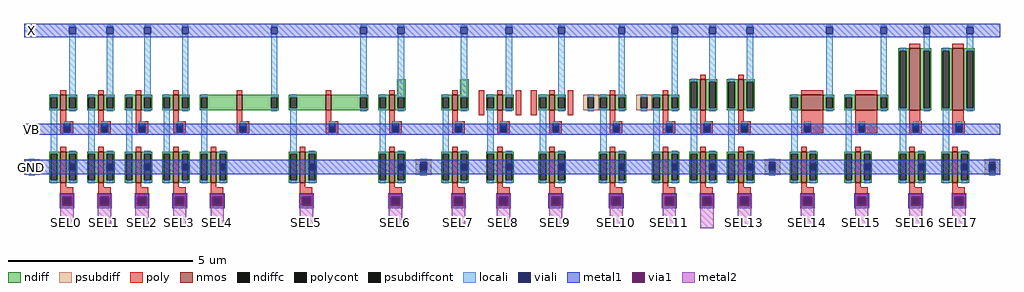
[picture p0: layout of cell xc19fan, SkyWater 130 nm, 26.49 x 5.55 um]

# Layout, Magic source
magic
tech sky130A
magscale 1 2
<< nmos >>
rect 198 0 228 84
rect 402 0 432 84
rect 606 0 636 84
rect 810 0 840 84
rect 1154 0 1184 84
rect 1638 0 1668 84
rect 1982 0 2012 84
rect 2324 0 2354 84
rect 2568 0 2598 84
rect 2852 0 2882 84
rect 3180 0 3210 84
rect 3468 0 3498 84
rect 3672 0 3702 168
rect 3876 0 3906 168
rect 4218 0 4338 84
rect 4512 0 4632 84
rect 4806 0 4866 336
rect 5040 0 5100 336
rect 198 -392 228 -224
rect 402 -392 432 -224
rect 606 -392 636 -224
rect 810 -392 840 -224
rect 1014 -392 1044 -224
rect 1498 -392 1528 -224
rect 1982 -392 2012 -224
rect 2324 -392 2354 -224
rect 2568 -392 2598 -224
rect 2852 -392 2882 -224
rect 3180 -392 3210 -224
rect 3468 -392 3498 -224
rect 3672 -392 3702 -224
rect 3876 -392 3906 -224
rect 4218 -392 4248 -224
rect 4512 -392 4542 -224
rect 4806 -392 4836 -224
rect 5040 -392 5070 -224
<< ndiff >>
rect 4746 324 4806 336
rect 2027 84 2072 168
rect 2369 84 2414 168
rect 3612 156 3672 168
rect 138 72 198 84
rect 138 12 146 72
rect 180 12 198 72
rect 138 0 198 12
rect 228 72 288 84
rect 228 12 246 72
rect 280 12 288 72
rect 228 0 288 12
rect 342 72 402 84
rect 342 12 350 72
rect 384 12 402 72
rect 342 0 402 12
rect 432 72 492 84
rect 432 12 450 72
rect 484 12 492 72
rect 432 0 492 12
rect 546 72 606 84
rect 546 12 554 72
rect 588 12 606 72
rect 546 0 606 12
rect 636 72 696 84
rect 636 12 654 72
rect 688 12 696 72
rect 636 0 696 12
rect 750 72 810 84
rect 750 12 758 72
rect 792 12 810 72
rect 750 0 810 12
rect 840 72 900 84
rect 840 12 858 72
rect 892 12 900 72
rect 840 0 900 12
rect 954 72 1154 84
rect 954 12 962 72
rect 996 12 1154 72
rect 954 0 1154 12
rect 1184 72 1384 84
rect 1184 12 1342 72
rect 1376 12 1384 72
rect 1184 0 1384 12
rect 1438 72 1638 84
rect 1438 12 1446 72
rect 1480 12 1638 72
rect 1438 0 1638 12
rect 1668 72 1868 84
rect 1668 12 1826 72
rect 1860 12 1868 72
rect 1668 0 1868 12
rect 1922 72 1982 84
rect 1922 12 1930 72
rect 1964 12 1982 72
rect 1922 0 1982 12
rect 2012 72 2072 84
rect 2012 12 2030 72
rect 2064 12 2072 72
rect 2012 0 2072 12
rect 2264 72 2324 84
rect 2264 12 2272 72
rect 2306 12 2324 72
rect 2264 0 2324 12
rect 2354 72 2414 84
rect 2354 12 2372 72
rect 2406 12 2414 72
rect 2354 0 2414 12
rect 2508 72 2568 84
rect 2508 12 2516 72
rect 2550 12 2568 72
rect 2508 0 2568 12
rect 2598 72 2658 84
rect 2598 12 2616 72
rect 2650 12 2658 72
rect 2598 0 2658 12
rect 2792 72 2852 84
rect 2792 12 2800 72
rect 2834 12 2852 72
rect 2792 0 2852 12
rect 2882 72 2942 84
rect 2882 12 2900 72
rect 2934 12 2942 72
rect 2882 0 2942 12
rect 3120 72 3180 84
rect 3120 12 3128 72
rect 3162 12 3180 72
rect 3120 0 3180 12
rect 3210 72 3270 84
rect 3210 12 3228 72
rect 3262 12 3270 72
rect 3210 0 3270 12
rect 3408 72 3468 84
rect 3408 12 3416 72
rect 3450 12 3468 72
rect 3408 0 3468 12
rect 3498 72 3558 84
rect 3498 12 3516 72
rect 3550 12 3558 72
rect 3498 0 3558 12
rect 3612 12 3620 156
rect 3654 12 3672 156
rect 3612 0 3672 12
rect 3702 156 3762 168
rect 3702 12 3720 156
rect 3754 12 3762 156
rect 3702 0 3762 12
rect 3816 156 3876 168
rect 3816 12 3824 156
rect 3858 12 3876 156
rect 3816 0 3876 12
rect 3906 156 3966 168
rect 3906 12 3924 156
rect 3958 12 3966 156
rect 3906 0 3966 12
rect 4158 72 4218 84
rect 4158 12 4166 72
rect 4200 12 4218 72
rect 4158 0 4218 12
rect 4338 72 4398 84
rect 4338 12 4356 72
rect 4390 12 4398 72
rect 4338 0 4398 12
rect 4452 72 4512 84
rect 4452 12 4460 72
rect 4494 12 4512 72
rect 4452 0 4512 12
rect 4632 72 4692 84
rect 4632 12 4650 72
rect 4684 12 4692 72
rect 4632 0 4692 12
rect 4746 12 4754 324
rect 4788 12 4806 324
rect 4746 0 4806 12
rect 4866 324 4926 336
rect 4866 12 4884 324
rect 4918 12 4926 324
rect 4866 0 4926 12
rect 4980 324 5040 336
rect 4980 12 4988 324
rect 5022 12 5040 324
rect 4980 0 5040 12
rect 5100 324 5160 336
rect 5100 12 5118 324
rect 5152 12 5160 324
rect 5100 0 5160 12
rect 138 -236 198 -224
rect 138 -380 146 -236
rect 180 -380 198 -236
rect 138 -392 198 -380
rect 228 -236 288 -224
rect 228 -380 246 -236
rect 280 -380 288 -236
rect 228 -392 288 -380
rect 342 -236 402 -224
rect 342 -380 350 -236
rect 384 -380 402 -236
rect 342 -392 402 -380
rect 432 -236 492 -224
rect 432 -380 450 -236
rect 484 -380 492 -236
rect 432 -392 492 -380
rect 546 -236 606 -224
rect 546 -380 554 -236
rect 588 -380 606 -236
rect 546 -392 606 -380
rect 636 -236 696 -224
rect 636 -380 654 -236
rect 688 -380 696 -236
rect 636 -392 696 -380
rect 750 -236 810 -224
rect 750 -380 758 -236
rect 792 -380 810 -236
rect 750 -392 810 -380
rect 840 -236 900 -224
rect 840 -380 858 -236
rect 892 -380 900 -236
rect 840 -392 900 -380
rect 954 -236 1014 -224
rect 954 -380 962 -236
rect 996 -380 1014 -236
rect 954 -392 1014 -380
rect 1044 -236 1104 -224
rect 1044 -380 1062 -236
rect 1096 -380 1104 -236
rect 1044 -392 1104 -380
rect 1438 -236 1498 -224
rect 1438 -380 1446 -236
rect 1480 -380 1498 -236
rect 1438 -392 1498 -380
rect 1528 -236 1588 -224
rect 1528 -380 1546 -236
rect 1580 -380 1588 -236
rect 1528 -392 1588 -380
rect 1922 -236 1982 -224
rect 1922 -380 1930 -236
rect 1964 -380 1982 -236
rect 1922 -392 1982 -380
rect 2012 -236 2072 -224
rect 2012 -380 2030 -236
rect 2064 -380 2072 -236
rect 2264 -236 2324 -224
rect 2012 -392 2072 -380
rect 2264 -380 2272 -236
rect 2306 -380 2324 -236
rect 2264 -392 2324 -380
rect 2354 -236 2414 -224
rect 2354 -380 2372 -236
rect 2406 -380 2414 -236
rect 2354 -392 2414 -380
rect 2508 -236 2568 -224
rect 2508 -380 2516 -236
rect 2550 -380 2568 -236
rect 2508 -392 2568 -380
rect 2598 -236 2658 -224
rect 2598 -380 2616 -236
rect 2650 -380 2658 -236
rect 2598 -392 2658 -380
rect 2792 -236 2852 -224
rect 2792 -380 2800 -236
rect 2834 -380 2852 -236
rect 2792 -392 2852 -380
rect 2882 -236 2942 -224
rect 2882 -380 2900 -236
rect 2934 -380 2942 -236
rect 2882 -392 2942 -380
rect 3120 -236 3180 -224
rect 3120 -380 3128 -236
rect 3162 -380 3180 -236
rect 3120 -392 3180 -380
rect 3210 -236 3270 -224
rect 3210 -380 3228 -236
rect 3262 -380 3270 -236
rect 3210 -392 3270 -380
rect 3408 -236 3468 -224
rect 3408 -380 3416 -236
rect 3450 -380 3468 -236
rect 3408 -392 3468 -380
rect 3498 -236 3558 -224
rect 3498 -380 3516 -236
rect 3550 -380 3558 -236
rect 3498 -392 3558 -380
rect 3612 -236 3672 -224
rect 3612 -380 3620 -236
rect 3654 -380 3672 -236
rect 3612 -392 3672 -380
rect 3702 -236 3762 -224
rect 3702 -380 3720 -236
rect 3754 -380 3762 -236
rect 3702 -392 3762 -380
rect 3816 -236 3876 -224
rect 3816 -380 3824 -236
rect 3858 -380 3876 -236
rect 3816 -392 3876 -380
rect 3906 -236 3966 -224
rect 3906 -380 3924 -236
rect 3958 -380 3966 -236
rect 4158 -236 4218 -224
rect 3906 -392 3966 -380
rect 4158 -380 4166 -236
rect 4200 -380 4218 -236
rect 4158 -392 4218 -380
rect 4248 -236 4308 -224
rect 4248 -380 4266 -236
rect 4300 -380 4308 -236
rect 4248 -392 4308 -380
rect 4452 -236 4512 -224
rect 4452 -380 4460 -236
rect 4494 -380 4512 -236
rect 4452 -392 4512 -380
rect 4542 -236 4602 -224
rect 4542 -380 4560 -236
rect 4594 -380 4602 -236
rect 4542 -392 4602 -380
rect 4746 -236 4806 -224
rect 4746 -380 4754 -236
rect 4788 -380 4806 -236
rect 4746 -392 4806 -380
rect 4836 -236 4896 -224
rect 4836 -380 4854 -236
rect 4888 -380 4896 -236
rect 4836 -392 4896 -380
rect 4980 -236 5040 -224
rect 4980 -380 4988 -236
rect 5022 -380 5040 -236
rect 4980 -392 5040 -380
rect 5070 -236 5130 -224
rect 5070 -380 5088 -236
rect 5122 -380 5130 -236
rect 5070 -392 5130 -380
<< ndiffc >>
rect 146 12 180 72
rect 246 12 280 72
rect 350 12 384 72
rect 450 12 484 72
rect 554 12 588 72
rect 654 12 688 72
rect 758 12 792 72
rect 858 12 892 72
rect 962 12 996 72
rect 1342 12 1376 72
rect 1446 12 1480 72
rect 1826 12 1860 72
rect 1930 12 1964 72
rect 2030 12 2064 72
rect 2272 12 2306 72
rect 2372 12 2406 72
rect 2516 12 2550 72
rect 2616 12 2650 72
rect 2800 12 2834 72
rect 2900 12 2934 72
rect 3128 12 3162 72
rect 3228 12 3262 72
rect 3416 12 3450 72
rect 3516 12 3550 72
rect 3620 12 3654 156
rect 3720 12 3754 156
rect 3824 12 3858 156
rect 3924 12 3958 156
rect 4166 12 4200 72
rect 4356 12 4390 72
rect 4460 12 4494 72
rect 4650 12 4684 72
rect 4754 12 4788 324
rect 4884 12 4918 324
rect 4988 12 5022 324
rect 5118 12 5152 324
rect 146 -380 180 -236
rect 246 -380 280 -236
rect 350 -380 384 -236
rect 450 -380 484 -236
rect 554 -380 588 -236
rect 654 -380 688 -236
rect 758 -380 792 -236
rect 858 -380 892 -236
rect 962 -380 996 -236
rect 1062 -380 1096 -236
rect 1446 -380 1480 -236
rect 1546 -380 1580 -236
rect 1930 -380 1964 -236
rect 2030 -380 2064 -236
rect 2272 -380 2306 -236
rect 2372 -380 2406 -236
rect 2516 -380 2550 -236
rect 2616 -380 2650 -236
rect 2800 -380 2834 -236
rect 2900 -380 2934 -236
rect 3128 -380 3162 -236
rect 3228 -380 3262 -236
rect 3416 -380 3450 -236
rect 3516 -380 3550 -236
rect 3620 -380 3654 -236
rect 3720 -380 3754 -236
rect 3824 -380 3858 -236
rect 3924 -380 3958 -236
rect 4166 -380 4200 -236
rect 4266 -380 4300 -236
rect 4460 -380 4494 -236
rect 4560 -380 4594 -236
rect 4754 -380 4788 -236
rect 4854 -380 4888 -236
rect 4988 -380 5022 -236
rect 5088 -380 5122 -236
<< psubdiff >>
rect 3036 72 3120 84
rect 3036 12 3060 72
rect 3094 12 3120 72
rect 3036 0 3120 12
rect 3324 72 3408 84
rect 3324 12 3348 72
rect 3382 12 3408 72
rect 3324 0 3408 12
rect 0 -278 84 -266
rect 0 -338 25 -278
rect 59 -338 84 -278
rect 0 -350 84 -338
rect 2126 -278 2210 -266
rect 2126 -338 2151 -278
rect 2185 -338 2210 -278
rect 2126 -350 2210 -338
rect 4020 -278 4104 -266
rect 4020 -338 4045 -278
rect 4079 -338 4104 -278
rect 4020 -350 4104 -338
rect 5214 -278 5298 -266
rect 5214 -338 5239 -278
rect 5273 -338 5298 -278
rect 5214 -350 5298 -338
<< psubdiffcont >>
rect 3060 12 3094 72
rect 3348 12 3382 72
rect 25 -338 59 -278
rect 2151 -338 2185 -278
rect 4045 -338 4079 -278
rect 5239 -338 5273 -278
<< poly >>
rect 4806 336 4866 362
rect 5040 336 5100 362
rect 3672 168 3702 194
rect 3876 168 3906 194
rect 198 84 228 110
rect 402 84 432 110
rect 606 84 636 110
rect 810 84 840 110
rect 1154 84 1184 110
rect 1638 84 1668 110
rect 1982 84 2012 110
rect 2324 84 2354 110
rect 198 -58 228 0
rect 402 -58 432 0
rect 606 -58 636 0
rect 810 -58 840 0
rect 1154 -58 1184 0
rect 1638 -58 1668 0
rect 1982 -58 2012 0
rect 2324 -58 2354 0
rect 2468 -26 2498 110
rect 2568 84 2598 110
rect 2568 -58 2598 0
rect 2668 -26 2698 110
rect 2752 -26 2782 110
rect 2852 84 2882 110
rect 2852 -58 2882 0
rect 2952 -26 2982 110
rect 3180 84 3210 110
rect 3468 84 3498 110
rect 4218 84 4338 110
rect 4512 84 4632 110
rect 3180 -58 3210 0
rect 3468 -58 3498 0
rect 3672 -58 3702 0
rect 3876 -58 3906 0
rect 198 -74 266 -58
rect 198 -108 216 -74
rect 250 -108 266 -74
rect 198 -124 266 -108
rect 402 -74 470 -58
rect 402 -108 420 -74
rect 454 -108 470 -74
rect 402 -124 470 -108
rect 606 -74 674 -58
rect 606 -108 624 -74
rect 658 -108 674 -74
rect 606 -124 674 -108
rect 810 -74 878 -58
rect 810 -108 828 -74
rect 862 -108 878 -74
rect 810 -124 878 -108
rect 1154 -74 1222 -58
rect 1154 -108 1172 -74
rect 1206 -108 1222 -74
rect 1154 -124 1222 -108
rect 1638 -74 1706 -58
rect 1638 -108 1656 -74
rect 1690 -108 1706 -74
rect 1638 -124 1706 -108
rect 1982 -74 2050 -58
rect 1982 -108 2000 -74
rect 2034 -108 2050 -74
rect 1982 -124 2050 -108
rect 2324 -74 2392 -58
rect 2324 -108 2342 -74
rect 2376 -108 2392 -74
rect 2324 -124 2392 -108
rect 2568 -74 2636 -58
rect 2568 -108 2586 -74
rect 2620 -108 2636 -74
rect 2568 -124 2636 -108
rect 2852 -74 2920 -58
rect 2852 -108 2870 -74
rect 2904 -108 2920 -74
rect 2852 -124 2920 -108
rect 3180 -74 3248 -58
rect 3180 -108 3198 -74
rect 3232 -108 3248 -74
rect 3180 -124 3248 -108
rect 3468 -74 3536 -58
rect 3468 -108 3486 -74
rect 3520 -108 3536 -74
rect 3468 -124 3536 -108
rect 3672 -74 3740 -58
rect 3672 -108 3690 -74
rect 3724 -108 3740 -74
rect 3672 -124 3740 -108
rect 3876 -74 3944 -58
rect 3876 -108 3894 -74
rect 3928 -108 3944 -74
rect 3876 -124 3944 -108
rect 4218 -74 4338 0
rect 4218 -108 4236 -74
rect 4270 -108 4338 -74
rect 4218 -124 4338 -108
rect 4512 -74 4632 0
rect 4512 -108 4530 -74
rect 4564 -108 4632 -74
rect 4512 -124 4632 -108
rect 4806 -58 4866 0
rect 5040 -58 5100 0
rect 4806 -74 4874 -58
rect 4806 -108 4824 -74
rect 4858 -108 4874 -74
rect 4806 -124 4874 -108
rect 5040 -74 5108 -58
rect 5040 -108 5058 -74
rect 5092 -108 5108 -74
rect 5040 -124 5108 -108
rect 198 -224 228 -198
rect 402 -224 432 -198
rect 606 -224 636 -198
rect 810 -224 840 -198
rect 1014 -224 1044 -198
rect 1498 -224 1528 -198
rect 1982 -224 2012 -198
rect 2324 -224 2354 -198
rect 2568 -224 2598 -198
rect 2852 -224 2882 -198
rect 3180 -224 3210 -198
rect 3468 -224 3498 -198
rect 3672 -224 3702 -198
rect 3876 -224 3906 -198
rect 4218 -224 4248 -198
rect 4512 -224 4542 -198
rect 4806 -224 4836 -198
rect 5040 -224 5070 -198
rect 198 -418 228 -392
rect 402 -418 432 -392
rect 606 -418 636 -392
rect 810 -418 840 -392
rect 1014 -418 1044 -392
rect 1498 -418 1528 -392
rect 1982 -418 2012 -392
rect 2324 -418 2354 -392
rect 2568 -418 2598 -392
rect 2852 -418 2882 -392
rect 3180 -418 3210 -392
rect 3468 -418 3498 -392
rect 3672 -418 3702 -392
rect 3876 -418 3906 -392
rect 4218 -418 4248 -392
rect 4512 -418 4542 -392
rect 4806 -418 4836 -392
rect 5040 -418 5070 -392
rect 198 -474 266 -418
rect 198 -508 216 -474
rect 250 -508 266 -474
rect 198 -524 266 -508
rect 402 -474 470 -418
rect 402 -508 420 -474
rect 454 -508 470 -474
rect 402 -524 470 -508
rect 606 -474 674 -418
rect 606 -508 624 -474
rect 658 -508 674 -474
rect 606 -524 674 -508
rect 810 -474 878 -418
rect 810 -508 828 -474
rect 862 -508 878 -474
rect 810 -524 878 -508
rect 1014 -474 1082 -418
rect 1014 -508 1032 -474
rect 1066 -508 1082 -474
rect 1014 -524 1082 -508
rect 1498 -474 1566 -418
rect 1498 -508 1516 -474
rect 1550 -508 1566 -474
rect 1498 -524 1566 -508
rect 1982 -474 2050 -418
rect 1982 -508 2000 -474
rect 2034 -508 2050 -474
rect 1982 -524 2050 -508
rect 2324 -474 2392 -418
rect 2324 -508 2342 -474
rect 2376 -508 2392 -474
rect 2324 -524 2392 -508
rect 2568 -474 2636 -418
rect 2568 -508 2586 -474
rect 2620 -508 2636 -474
rect 2568 -524 2636 -508
rect 2852 -474 2920 -418
rect 2852 -508 2870 -474
rect 2904 -508 2920 -474
rect 2852 -524 2920 -508
rect 3180 -474 3248 -418
rect 3180 -508 3198 -474
rect 3232 -508 3248 -474
rect 3180 -524 3248 -508
rect 3468 -474 3536 -418
rect 3468 -508 3486 -474
rect 3520 -508 3536 -474
rect 3468 -524 3536 -508
rect 3672 -474 3740 -418
rect 3672 -508 3690 -474
rect 3724 -508 3740 -474
rect 3672 -524 3740 -508
rect 3876 -474 3944 -418
rect 3876 -508 3894 -474
rect 3928 -508 3944 -474
rect 3876 -524 3944 -508
rect 4218 -474 4286 -418
rect 4218 -508 4236 -474
rect 4270 -508 4286 -474
rect 4218 -524 4286 -508
rect 4512 -474 4580 -418
rect 4512 -508 4530 -474
rect 4564 -508 4580 -474
rect 4512 -524 4580 -508
rect 4806 -474 4874 -418
rect 4806 -508 4824 -474
rect 4858 -508 4874 -474
rect 4806 -524 4874 -508
rect 5040 -474 5108 -418
rect 5040 -508 5058 -474
rect 5092 -508 5108 -474
rect 5040 -524 5108 -508
<< polycont >>
rect 216 -108 250 -74
rect 420 -108 454 -74
rect 624 -108 658 -74
rect 828 -108 862 -74
rect 1172 -108 1206 -74
rect 1656 -108 1690 -74
rect 2000 -108 2034 -74
rect 2342 -108 2376 -74
rect 2586 -108 2620 -74
rect 2870 -108 2904 -74
rect 3198 -108 3232 -74
rect 3486 -108 3520 -74
rect 3690 -108 3724 -74
rect 3894 -108 3928 -74
rect 4236 -108 4270 -74
rect 4530 -108 4564 -74
rect 4824 -108 4858 -74
rect 5058 -108 5092 -74
rect 216 -508 250 -474
rect 420 -508 454 -474
rect 624 -508 658 -474
rect 828 -508 862 -474
rect 1032 -508 1066 -474
rect 1516 -508 1550 -474
rect 2000 -508 2034 -474
rect 2342 -508 2376 -474
rect 2586 -508 2620 -474
rect 2870 -508 2904 -474
rect 3198 -508 3232 -474
rect 3486 -508 3520 -474
rect 3690 -508 3724 -474
rect 3894 -508 3928 -474
rect 4236 -508 4270 -474
rect 4530 -508 4564 -474
rect 4824 -508 4858 -474
rect 5058 -508 5092 -474
<< locali >>
rect 246 450 280 462
rect 146 72 180 88
rect 146 -236 180 12
rect 246 72 280 416
rect 450 450 484 462
rect 246 -4 280 12
rect 350 72 384 88
rect 216 -74 250 -58
rect 216 -124 250 -120
rect 25 -278 59 -262
rect 25 -354 59 -338
rect 146 -396 180 -380
rect 246 -236 280 -220
rect 246 -396 280 -380
rect 350 -236 384 12
rect 450 72 484 416
rect 654 450 688 462
rect 450 -4 484 12
rect 554 72 588 88
rect 420 -74 454 -58
rect 420 -124 454 -120
rect 350 -396 384 -380
rect 450 -236 484 -220
rect 450 -396 484 -380
rect 554 -236 588 12
rect 654 72 688 416
rect 858 450 892 462
rect 654 -4 688 12
rect 758 72 792 88
rect 624 -74 658 -58
rect 624 -124 658 -120
rect 554 -396 588 -380
rect 654 -236 688 -220
rect 654 -396 688 -380
rect 758 -236 792 12
rect 858 72 892 416
rect 1342 450 1376 462
rect 858 -4 892 12
rect 962 72 996 88
rect 828 -74 862 -58
rect 828 -124 862 -120
rect 758 -396 792 -380
rect 858 -236 892 -220
rect 858 -396 892 -380
rect 962 -236 996 12
rect 1342 72 1376 416
rect 1826 450 1860 462
rect 1342 -4 1376 12
rect 1446 72 1480 88
rect 1172 -74 1206 -58
rect 1172 -124 1206 -120
rect 962 -396 996 -380
rect 1062 -236 1096 -220
rect 1062 -396 1096 -380
rect 1446 -236 1480 12
rect 1826 72 1860 416
rect 2030 450 2064 462
rect 1826 -4 1860 12
rect 1930 72 1964 88
rect 1656 -74 1690 -58
rect 1656 -124 1690 -120
rect 1446 -396 1480 -380
rect 1546 -236 1580 -220
rect 1546 -396 1580 -380
rect 1930 -236 1964 12
rect 2030 72 2064 416
rect 2372 450 2406 462
rect 2030 -4 2064 12
rect 2272 72 2306 88
rect 2000 -74 2034 -58
rect 2000 -124 2034 -120
rect 1930 -396 1964 -380
rect 2030 -236 2064 -220
rect 2272 -236 2306 12
rect 2372 72 2406 416
rect 2616 450 2650 462
rect 2372 -4 2406 12
rect 2516 72 2550 88
rect 2342 -74 2376 -58
rect 2342 -124 2376 -120
rect 2151 -278 2185 -262
rect 2151 -354 2185 -338
rect 2030 -396 2064 -380
rect 2272 -396 2306 -380
rect 2372 -236 2406 -220
rect 2372 -396 2406 -380
rect 2516 -236 2550 12
rect 2616 72 2650 416
rect 2900 450 2934 462
rect 2616 -4 2650 12
rect 2800 72 2834 88
rect 2586 -74 2620 -58
rect 2586 -124 2620 -120
rect 2516 -396 2550 -380
rect 2616 -236 2650 -220
rect 2616 -396 2650 -380
rect 2800 -236 2834 12
rect 2900 72 2934 416
rect 3228 450 3262 462
rect 2900 -4 2934 12
rect 3060 72 3094 88
rect 3060 -4 3094 12
rect 3128 72 3162 88
rect 2870 -74 2904 -58
rect 2870 -124 2904 -120
rect 2800 -396 2834 -380
rect 2900 -236 2934 -220
rect 2900 -396 2934 -380
rect 3128 -236 3162 12
rect 3228 72 3262 416
rect 3516 450 3550 462
rect 3228 -4 3262 12
rect 3348 72 3382 88
rect 3348 -4 3382 12
rect 3416 72 3450 88
rect 3198 -74 3232 -58
rect 3198 -124 3232 -120
rect 3128 -396 3162 -380
rect 3228 -236 3262 -220
rect 3228 -396 3262 -380
rect 3416 -236 3450 12
rect 3516 72 3550 416
rect 3720 450 3754 462
rect 3516 -4 3550 12
rect 3620 156 3654 172
rect 3486 -74 3520 -58
rect 3486 -124 3520 -120
rect 3416 -396 3450 -380
rect 3516 -236 3550 -220
rect 3516 -396 3550 -380
rect 3620 -236 3654 12
rect 3720 156 3754 416
rect 3924 450 3958 462
rect 3720 -4 3754 12
rect 3824 156 3858 172
rect 3690 -74 3724 -58
rect 3690 -124 3724 -120
rect 3620 -396 3654 -380
rect 3720 -236 3754 -220
rect 3720 -396 3754 -380
rect 3824 -236 3858 12
rect 3924 156 3958 416
rect 4356 450 4390 462
rect 3924 -4 3958 12
rect 4166 72 4200 88
rect 3894 -74 3928 -58
rect 3894 -124 3928 -120
rect 3824 -396 3858 -380
rect 3924 -236 3958 -220
rect 4166 -236 4200 12
rect 4356 72 4390 416
rect 4650 450 4684 462
rect 4356 -4 4390 12
rect 4460 72 4494 88
rect 4236 -74 4270 -58
rect 4236 -124 4270 -120
rect 4045 -278 4079 -262
rect 4045 -354 4079 -338
rect 3924 -396 3958 -380
rect 4166 -396 4200 -380
rect 4266 -236 4300 -220
rect 4266 -396 4300 -380
rect 4460 -236 4494 12
rect 4650 72 4684 416
rect 4884 450 4918 462
rect 4650 -4 4684 12
rect 4754 324 4788 340
rect 4530 -74 4564 -58
rect 4530 -124 4564 -120
rect 4460 -396 4494 -380
rect 4560 -236 4594 -220
rect 4560 -396 4594 -380
rect 4754 -236 4788 12
rect 4884 324 4918 416
rect 5118 450 5152 462
rect 4884 -4 4918 12
rect 4988 324 5022 340
rect 4824 -74 4858 -58
rect 4824 -124 4858 -120
rect 4754 -396 4788 -380
rect 4854 -236 4888 -220
rect 4854 -396 4888 -380
rect 4988 -236 5022 12
rect 5118 324 5152 416
rect 5118 -4 5152 12
rect 5058 -74 5092 -58
rect 5058 -124 5092 -120
rect 4988 -396 5022 -380
rect 5088 -236 5122 -220
rect 5239 -278 5273 -262
rect 5239 -354 5273 -338
rect 5088 -396 5122 -380
rect 216 -474 250 -458
rect 216 -524 250 -508
rect 420 -474 454 -458
rect 420 -524 454 -508
rect 624 -474 658 -458
rect 624 -524 658 -508
rect 828 -474 862 -458
rect 828 -524 862 -508
rect 1032 -474 1066 -458
rect 1032 -524 1066 -508
rect 1516 -474 1550 -458
rect 1516 -524 1550 -508
rect 2000 -474 2034 -458
rect 2000 -524 2034 -508
rect 2342 -474 2376 -458
rect 2342 -524 2376 -508
rect 2586 -474 2620 -458
rect 2586 -524 2620 -508
rect 2870 -474 2904 -458
rect 2870 -524 2904 -508
rect 3198 -474 3232 -458
rect 3198 -524 3232 -508
rect 3486 -474 3520 -458
rect 3486 -524 3520 -508
rect 3690 -474 3724 -458
rect 3690 -524 3724 -508
rect 3894 -474 3928 -458
rect 3894 -524 3928 -508
rect 4236 -474 4270 -458
rect 4236 -524 4270 -508
rect 4530 -474 4564 -458
rect 4530 -524 4564 -508
rect 4824 -474 4858 -458
rect 4824 -524 4858 -508
rect 5058 -474 5092 -458
rect 5058 -524 5092 -508
<< viali >>
rect 246 416 280 450
rect 450 416 484 450
rect 216 -108 250 -86
rect 216 -120 250 -108
rect 25 -325 59 -291
rect 246 -325 280 -291
rect 654 416 688 450
rect 420 -108 454 -86
rect 420 -120 454 -108
rect 450 -325 484 -291
rect 858 416 892 450
rect 624 -108 658 -86
rect 624 -120 658 -108
rect 654 -325 688 -291
rect 1342 416 1376 450
rect 828 -108 862 -86
rect 828 -120 862 -108
rect 858 -325 892 -291
rect 1826 416 1860 450
rect 1172 -108 1206 -86
rect 1172 -120 1206 -108
rect 1062 -325 1096 -291
rect 2030 416 2064 450
rect 1656 -108 1690 -86
rect 1656 -120 1690 -108
rect 1546 -325 1580 -291
rect 2372 416 2406 450
rect 2000 -108 2034 -86
rect 2000 -120 2034 -108
rect 2616 416 2650 450
rect 2342 -108 2376 -86
rect 2342 -120 2376 -108
rect 2030 -325 2064 -291
rect 2151 -325 2185 -291
rect 2372 -325 2406 -291
rect 2900 416 2934 450
rect 2586 -108 2620 -86
rect 2586 -120 2620 -108
rect 2616 -325 2650 -291
rect 3228 416 3262 450
rect 2870 -108 2904 -86
rect 2870 -120 2904 -108
rect 2900 -325 2934 -291
rect 3516 416 3550 450
rect 3198 -108 3232 -86
rect 3198 -120 3232 -108
rect 3228 -325 3262 -291
rect 3720 416 3754 450
rect 3486 -108 3520 -86
rect 3486 -120 3520 -108
rect 3516 -325 3550 -291
rect 3924 416 3958 450
rect 3690 -108 3724 -86
rect 3690 -120 3724 -108
rect 3720 -325 3754 -291
rect 4356 416 4390 450
rect 3894 -108 3928 -86
rect 3894 -120 3928 -108
rect 4650 416 4684 450
rect 4236 -108 4270 -86
rect 4236 -120 4270 -108
rect 3924 -325 3958 -291
rect 4045 -325 4079 -291
rect 4266 -325 4300 -291
rect 4884 416 4918 450
rect 4530 -108 4564 -86
rect 4530 -120 4564 -108
rect 4560 -325 4594 -291
rect 5118 416 5152 450
rect 4824 -108 4858 -86
rect 4824 -120 4858 -108
rect 4854 -325 4888 -291
rect 5058 -108 5092 -86
rect 5058 -120 5092 -108
rect 5088 -325 5122 -291
rect 5239 -325 5273 -291
rect 216 -508 250 -474
rect 420 -508 454 -474
rect 624 -508 658 -474
rect 828 -508 862 -474
rect 1032 -508 1066 -474
rect 1516 -508 1550 -474
rect 2000 -508 2034 -474
rect 2342 -508 2376 -474
rect 2586 -508 2620 -474
rect 2870 -508 2904 -474
rect 3198 -508 3232 -474
rect 3486 -508 3520 -474
rect 3690 -508 3724 -474
rect 3894 -508 3928 -474
rect 4236 -508 4270 -474
rect 4530 -508 4564 -474
rect 4824 -508 4858 -474
rect 5058 -508 5092 -474
<< metal1 >>
rect 0 450 5298 470
rect 0 416 246 450
rect 280 416 450 450
rect 484 416 654 450
rect 688 416 858 450
rect 892 416 1342 450
rect 1376 416 1826 450
rect 1860 416 2030 450
rect 2064 416 2372 450
rect 2406 416 2616 450
rect 2650 416 2900 450
rect 2934 416 3228 450
rect 3262 416 3516 450
rect 3550 416 3720 450
rect 3754 416 3924 450
rect 3958 416 4356 450
rect 4390 416 4650 450
rect 4684 416 4884 450
rect 4918 416 5118 450
rect 5152 416 5298 450
rect 0 396 5298 416
rect 0 -86 5298 -74
rect 0 -120 216 -86
rect 250 -120 420 -86
rect 454 -120 624 -86
rect 658 -120 828 -86
rect 862 -120 1172 -86
rect 1206 -120 1656 -86
rect 1690 -120 2000 -86
rect 2034 -120 2342 -86
rect 2376 -120 2586 -86
rect 2620 -120 2870 -86
rect 2904 -120 3198 -86
rect 3232 -120 3486 -86
rect 3520 -120 3690 -86
rect 3724 -120 3894 -86
rect 3928 -120 4236 -86
rect 4270 -120 4530 -86
rect 4564 -120 4824 -86
rect 4858 -120 5058 -86
rect 5092 -120 5298 -86
rect 0 -132 5298 -120
rect 0 -291 5298 -268
rect 0 -325 25 -291
rect 59 -325 246 -291
rect 280 -325 450 -291
rect 484 -325 654 -291
rect 688 -325 858 -291
rect 892 -325 1062 -291
rect 1096 -325 1546 -291
rect 1580 -325 2030 -291
rect 2064 -325 2151 -291
rect 2185 -325 2372 -291
rect 2406 -325 2616 -291
rect 2650 -325 2900 -291
rect 2934 -325 3228 -291
rect 3262 -325 3516 -291
rect 3550 -325 3720 -291
rect 3754 -325 3924 -291
rect 3958 -325 4045 -291
rect 4079 -325 4266 -291
rect 4300 -325 4560 -291
rect 4594 -325 4854 -291
rect 4888 -325 5088 -291
rect 5122 -325 5239 -291
rect 5273 -325 5298 -291
rect 0 -348 5298 -325
rect 193 -465 273 -451
rect 193 -517 207 -465
rect 259 -517 273 -465
rect 193 -531 273 -517
rect 397 -465 477 -451
rect 397 -517 411 -465
rect 463 -517 477 -465
rect 397 -531 477 -517
rect 601 -465 681 -451
rect 601 -517 615 -465
rect 667 -517 681 -465
rect 601 -531 681 -517
rect 805 -465 885 -451
rect 805 -517 819 -465
rect 871 -517 885 -465
rect 805 -531 885 -517
rect 1009 -465 1089 -451
rect 1009 -517 1023 -465
rect 1075 -517 1089 -465
rect 1009 -531 1089 -517
rect 1493 -465 1573 -451
rect 1493 -517 1507 -465
rect 1559 -517 1573 -465
rect 1493 -531 1573 -517
rect 1977 -465 2057 -451
rect 1977 -517 1991 -465
rect 2043 -517 2057 -465
rect 1977 -531 2057 -517
rect 2319 -465 2399 -451
rect 2319 -517 2333 -465
rect 2385 -517 2399 -465
rect 2319 -531 2399 -517
rect 2563 -465 2643 -451
rect 2563 -517 2577 -465
rect 2629 -517 2643 -465
rect 2563 -531 2643 -517
rect 2847 -465 2927 -451
rect 2847 -517 2861 -465
rect 2913 -517 2927 -465
rect 2847 -531 2927 -517
rect 3175 -465 3255 -451
rect 3175 -517 3189 -465
rect 3241 -517 3255 -465
rect 3175 -531 3255 -517
rect 3463 -465 3543 -451
rect 3463 -517 3477 -465
rect 3529 -517 3543 -465
rect 3463 -531 3543 -517
rect 3667 -465 3747 -451
rect 3667 -517 3681 -465
rect 3733 -517 3747 -465
rect 3667 -531 3747 -517
rect 3871 -465 3951 -451
rect 3871 -517 3885 -465
rect 3937 -517 3951 -465
rect 3871 -531 3951 -517
rect 4213 -465 4293 -451
rect 4213 -517 4227 -465
rect 4279 -517 4293 -465
rect 4213 -531 4293 -517
rect 4507 -465 4587 -451
rect 4507 -517 4521 -465
rect 4573 -517 4587 -465
rect 4507 -531 4587 -517
rect 4801 -465 4881 -451
rect 4801 -517 4815 -465
rect 4867 -517 4881 -465
rect 4801 -531 4881 -517
rect 5035 -465 5115 -451
rect 5035 -517 5049 -465
rect 5101 -517 5115 -465
rect 5035 -531 5115 -517
<< via1 >>
rect 207 -474 259 -465
rect 207 -508 216 -474
rect 216 -508 250 -474
rect 250 -508 259 -474
rect 207 -517 259 -508
rect 411 -474 463 -465
rect 411 -508 420 -474
rect 420 -508 454 -474
rect 454 -508 463 -474
rect 411 -517 463 -508
rect 615 -474 667 -465
rect 615 -508 624 -474
rect 624 -508 658 -474
rect 658 -508 667 -474
rect 615 -517 667 -508
rect 819 -474 871 -465
rect 819 -508 828 -474
rect 828 -508 862 -474
rect 862 -508 871 -474
rect 819 -517 871 -508
rect 1023 -474 1075 -465
rect 1023 -508 1032 -474
rect 1032 -508 1066 -474
rect 1066 -508 1075 -474
rect 1023 -517 1075 -508
rect 1507 -474 1559 -465
rect 1507 -508 1516 -474
rect 1516 -508 1550 -474
rect 1550 -508 1559 -474
rect 1507 -517 1559 -508
rect 1991 -474 2043 -465
rect 1991 -508 2000 -474
rect 2000 -508 2034 -474
rect 2034 -508 2043 -474
rect 1991 -517 2043 -508
rect 2333 -474 2385 -465
rect 2333 -508 2342 -474
rect 2342 -508 2376 -474
rect 2376 -508 2385 -474
rect 2333 -517 2385 -508
rect 2577 -474 2629 -465
rect 2577 -508 2586 -474
rect 2586 -508 2620 -474
rect 2620 -508 2629 -474
rect 2577 -517 2629 -508
rect 2861 -474 2913 -465
rect 2861 -508 2870 -474
rect 2870 -508 2904 -474
rect 2904 -508 2913 -474
rect 2861 -517 2913 -508
rect 3189 -474 3241 -465
rect 3189 -508 3198 -474
rect 3198 -508 3232 -474
rect 3232 -508 3241 -474
rect 3189 -517 3241 -508
rect 3477 -474 3529 -465
rect 3477 -508 3486 -474
rect 3486 -508 3520 -474
rect 3520 -508 3529 -474
rect 3477 -517 3529 -508
rect 3681 -474 3733 -465
rect 3681 -508 3690 -474
rect 3690 -508 3724 -474
rect 3724 -508 3733 -474
rect 3681 -517 3733 -508
rect 3885 -474 3937 -465
rect 3885 -508 3894 -474
rect 3894 -508 3928 -474
rect 3928 -508 3937 -474
rect 3885 -517 3937 -508
rect 4227 -474 4279 -465
rect 4227 -508 4236 -474
rect 4236 -508 4270 -474
rect 4270 -508 4279 -474
rect 4227 -517 4279 -508
rect 4521 -474 4573 -465
rect 4521 -508 4530 -474
rect 4530 -508 4564 -474
rect 4564 -508 4573 -474
rect 4521 -517 4573 -508
rect 4815 -474 4867 -465
rect 4815 -508 4824 -474
rect 4824 -508 4858 -474
rect 4858 -508 4867 -474
rect 4815 -517 4867 -508
rect 5049 -474 5101 -465
rect 5049 -508 5058 -474
rect 5058 -508 5092 -474
rect 5092 -508 5101 -474
rect 5049 -517 5101 -508
<< metal2 >>
rect 197 -465 269 -455
rect 197 -517 207 -465
rect 259 -517 269 -465
rect 197 -640 269 -517
rect 401 -465 473 -455
rect 401 -517 411 -465
rect 463 -517 473 -465
rect 401 -640 473 -517
rect 605 -465 677 -455
rect 605 -517 615 -465
rect 667 -517 677 -465
rect 605 -640 677 -517
rect 809 -465 881 -455
rect 809 -517 819 -465
rect 871 -517 881 -465
rect 809 -640 881 -517
rect 1013 -465 1085 -455
rect 1013 -517 1023 -465
rect 1075 -517 1085 -465
rect 1013 -640 1085 -517
rect 1497 -465 1569 -455
rect 1497 -517 1507 -465
rect 1559 -517 1569 -465
rect 1497 -640 1569 -517
rect 1981 -465 2053 -455
rect 1981 -517 1991 -465
rect 2043 -517 2053 -465
rect 1981 -640 2053 -517
rect 2323 -465 2395 -455
rect 2323 -517 2333 -465
rect 2385 -517 2395 -465
rect 2323 -640 2395 -517
rect 2567 -465 2639 -455
rect 2567 -517 2577 -465
rect 2629 -517 2639 -465
rect 2567 -640 2639 -517
rect 2851 -465 2923 -455
rect 2851 -517 2861 -465
rect 2913 -517 2923 -465
rect 2851 -640 2923 -517
rect 3179 -465 3251 -455
rect 3179 -517 3189 -465
rect 3241 -517 3251 -465
rect 3179 -640 3251 -517
rect 3467 -465 3539 -455
rect 3467 -517 3477 -465
rect 3529 -517 3539 -465
rect 3467 -640 3539 -517
rect 3671 -465 3743 -455
rect 3671 -517 3681 -465
rect 3733 -517 3743 -465
rect 3671 -640 3743 -517
rect 3875 -465 3947 -455
rect 3875 -517 3885 -465
rect 3937 -517 3947 -465
rect 3875 -640 3947 -517
rect 4217 -465 4289 -455
rect 4217 -517 4227 -465
rect 4279 -517 4289 -465
rect 4217 -640 4289 -517
rect 4511 -465 4583 -455
rect 4511 -517 4521 -465
rect 4573 -517 4583 -465
rect 4511 -640 4583 -517
rect 4805 -465 4877 -455
rect 4805 -517 4815 -465
rect 4867 -517 4877 -465
rect 4805 -640 4877 -517
rect 5039 -465 5111 -455
rect 5039 -517 5049 -465
rect 5101 -517 5111 -465
rect 5039 -640 5111 -517
<< labels >>
flabel metal2 197 -640 269 -580 0 FreeSans 320 0 0 0 SEL0
port 1 nsew
flabel metal2 401 -640 473 -580 0 FreeSans 320 0 0 0 SEL1
port 2 nsew
flabel metal2 605 -640 677 -580 0 FreeSans 320 0 0 0 SEL2
port 3 nsew
flabel metal2 809 -640 881 -580 0 FreeSans 320 0 0 0 SEL3
port 4 nsew
flabel metal2 1013 -640 1085 -580 0 FreeSans 320 0 0 0 SEL4
port 5 nsew
flabel metal2 1497 -640 1569 -580 0 FreeSans 320 0 0 0 SEL5
port 6 nsew
flabel metal2 1981 -640 2053 -580 0 FreeSans 320 0 0 0 SEL6
port 7 nsew
flabel metal2 2323 -640 2395 -580 0 FreeSans 320 0 0 0 SEL7
port 8 nsew
flabel metal2 2567 -640 2639 -580 0 FreeSans 320 0 0 0 SEL8
port 9 nsew
flabel metal2 2851 -640 2923 -580 0 FreeSans 320 0 0 0 SEL9
port 10 nsew
flabel metal2 3179 -640 3251 -580 0 FreeSans 320 0 0 0 SEL10
port 11 nsew
flabel metal2 3467 -640 3539 -580 0 FreeSans 320 0 0 0 SEL11
port 12 nsew
flabel metal2 3671 -640 3743 -580 0 FreeSans 320 0 0 0 SEL12
port 13 nsew
flabel metal2 3875 -640 3947 -580 0 FreeSans 320 0 0 0 SEL13
port 14 nsew
flabel metal2 4217 -640 4289 -580 0 FreeSans 320 0 0 0 SEL14
port 15 nsew
flabel metal2 4511 -640 4583 -580 0 FreeSans 320 0 0 0 SEL15
port 16 nsew
flabel metal2 4805 -640 4877 -580 0 FreeSans 320 0 0 0 SEL16
port 17 nsew
flabel metal2 5039 -640 5111 -580 0 FreeSans 320 0 0 0 SEL17
port 18 nsew
flabel metal1 0 396 80 470 0 FreeSans 320 0 0 0 X
port 19 nsew
flabel metal1 0 -132 80 -74 0 FreeSans 320 0 0 0 VB
port 20 nsew
flabel metal1 0 -348 80 -268 0 FreeSans 320 0 0 0 GND
port 21 nsew
<< end >>
